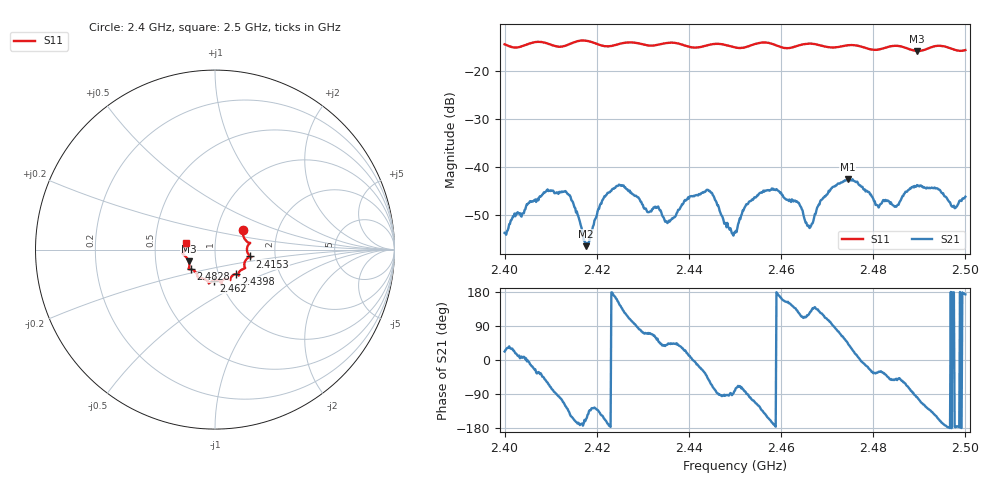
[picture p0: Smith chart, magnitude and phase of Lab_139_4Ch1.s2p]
# Hz S RI R 50
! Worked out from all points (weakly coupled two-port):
!   601 points, 2.4 GHz to 2.5 GHz, reference 50 ohm
!   highest |S21| = -42.48 dB at 2.4745 GHz (marker M1); lowest = -56.4 dB at 2.4177 GHz (marker M2)
!   lowest |S11| = -15.9 dB at 2.4895 GHz (marker M3), VSWR 1.38, Z = 37 - j5 ohm
!   |S11| at or under -10 dB: start of sweep to end of sweep
!   S12 and S22 are empty: the file has one direction only
!   S11 on the Smith chart (normalised r, x): 2.4 GHz: 1.33, +0.29; 2.4153 GHz: 1.48, -0.12; 2.4398 GHz: 1.21, -0.34; 2.462 GHz: 0.93, -0.33; 2.4828 GHz: 0.74, -0.17; 2.5 GHz: 0.72, +0.06
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2.4e9  0.1554 0.1068  0.00193 0.000798  0 0  0 0
2.409333e9  0.1895 0.0317  0.00298 -0.00507  0 0  0 0
2.415333e9  0.196 -0.0384  -0.00356 -0.00121  0 0  0 0
2.416667e9  0.202 -0.0424  -0.00232 -0.000483  0 0  0 0
2.417667e9  0.201 -0.042  -0.00139 -0.000615  0 0  0 0
2.421167e9  0.1743 -0.0549  -0.00376 -0.00249  0 0  0 0
2.4245e9  0.1638 -0.0923  -0.00583 0.00261  0 0  0 0
2.433333e9  0.1306 -0.1337  0.0025 0.00301  0 0  0 0
2.435667e9  0.1318 -0.1446  0.00204 0.0019  0 0  0 0
2.439833e9  0.1155 -0.1362  0.00472 0.00122  0 0  0 0
2.4445e9  0.0848 -0.1663  0.00315 -0.00473  0 0  0 0
2.45e9  0.0648 -0.1625  0.000352 -0.00206  0 0  0 0
2.455667e9  0.0376 -0.1925  -0.00355 -0.00415  0 0  0 0
2.462e9  -0.00503 -0.1731  -0.0038 0.00237  0 0  0 0
2.466667e9  -0.0344 -0.1882  -0.00175 0.0019  0 0  0 0
2.469e9  -0.04 -0.1767  -0.00236 0.00405  0 0  0 0
2.4745e9  -0.0907 -0.1606  0.00545 0.00517  0 0  0 0
2.482833e9  -0.1363 -0.1094  0.00343 -0.00291  0 0  0 0
2.483333e9  -0.1401 -0.1092  0.00308 -0.00321  0 0  0 0
2.4895e9  -0.1462 -0.0659  -0.000902 -0.00647  0 0  0 0
2.4975e9  -0.1664 -0.00119  -0.00399 9.48e-05  0 0  0 0
2.5e9  -0.1595 0.0391  -0.00491 0.000582  0 0  0 0
